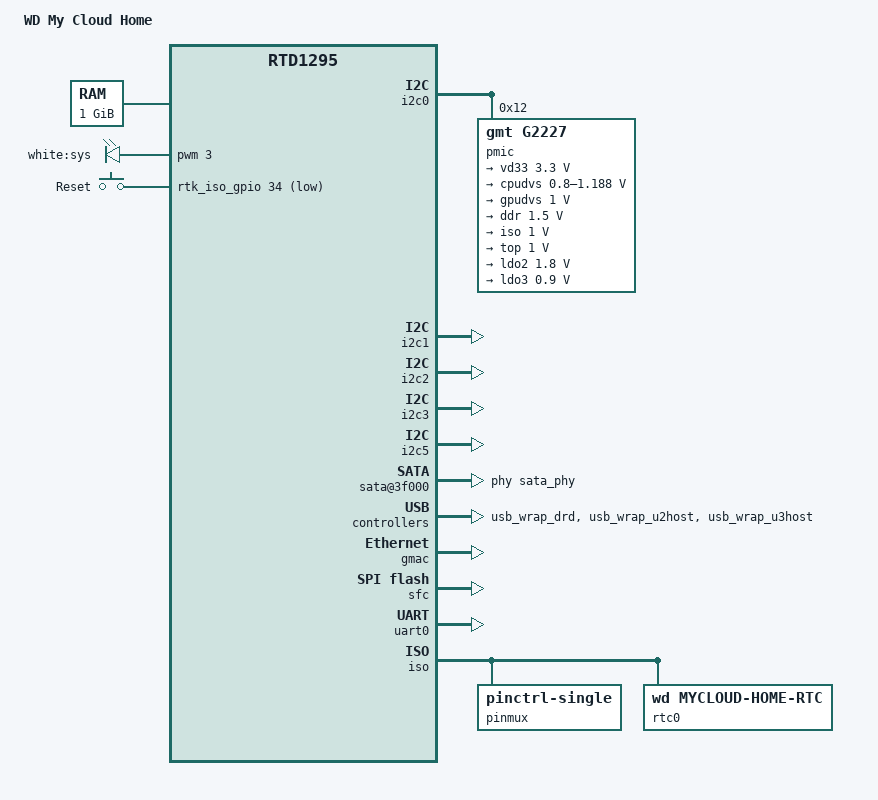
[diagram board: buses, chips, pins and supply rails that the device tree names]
// SPDX-License-Identifier: (GPL-2.0-or-later OR BSD-2-Clause)
/*
 * WD My Cloud Home device tree
 * Based on Realtek RTD1295 SoC
 *
 * Ported from kernel 4.9.330 to 6.18.2
 * Based on third-party Debian device tree from Russian forum
 * Optimized for Debian/Linux (not Android)
 */

/dts-v1/;

/*
 * Protect the USB-rescue-loader's ramdisk staging area (rescue.root.sata.
 * cpio.gz_pad.img is loaded here, at the fixed address U-Boot's
 * boot_rescue_from_usb script uses). Matches the vendor rescue DTS
 * (rtd-1295-monarch-rescue.dts): ROOTFS_RESCUE_START/SIZE from
 * include/soc/realtek/memory.h. Without this reservation and the
 * chosen/linux,initrd-* properties below, the kernel never learns the
 * ramdisk is there at all -- confirmed on real hardware: U-Boot's own FDT
 * memreserve dump only lists 3 regions without this line (vs. 10 on a
 * working 4.9.330 rescue boot), and the kernel panics with "Unable to
 * mount root fs" instead of "Trying to unpack rootfs image as initramfs".
 */
/memreserve/ 0x02200000 0x00C00000;

#include "rtd1295.dtsi"
#include <dt-bindings/gpio/gpio.h>
#include <dt-bindings/input/input.h>
#include <dt-bindings/thermal/thermal.h>
#include <dt-bindings/reset/realtek,rtd1295.h>

/ {
	compatible = "wd,mycloud-home", "realtek,rtd1295";
	model = "WD My Cloud Home";

	/*
	 * NOTE: The third-party Debian tree this was derived from reports 1 GiB RAM.
	 * Do NOT assume 2 GiB unless confirmed on the target device.
	 *
	 * Also note: this SoC is ARM64, but the upstream RTD129x DTS uses
	 * #address-cells = <1> / #size-cells = <1> at the root (32-bit cells).
	 * That's fine as long as all addresses are below 4 GiB.
	 */
	memory@0 {
		device_type = "memory";
		reg = <0x0 0x40000000>;
	};

	aliases {
		serial0 = &uart0;
		serial1 = &uart1;
		serial2 = &uart2;
		i2c0 = &i2c0;
		i2c1 = &i2c1;
	};

	chosen {
		bootargs = "earlycon=uart8250,mmio32,0x98007800 console=ttyS0,115200 panic=5";
		stdout-path = "serial0:115200n8";
		/*
		 * ROOTFS_RESCUE_START, see the /memreserve/ comment above.
		 * End is start+4MB, not the full 12MB reservation: the
		 * USB-rescue loader reads a fixed 4194304-byte block for
		 * rescue.root.sata.cpio.gz_pad.img regardless of the real
		 * gzip payload size (matches the working 4.9.330 rescue
		 * boot log: "Freeing initrd memory: 4096K").
		 */
		linux,initrd-start = <0x02200000>;
		linux,initrd-end = <0x02600000>;
	};

	/* Reserved memory - clean version without vendor rsvmem-remap overlaps */
	reserved-memory {
		#address-cells = <1>;
		#size-cells = <1>;
		ranges;

		linux,cma {
			compatible = "shared-dma-pool";
			reusable;
			size = <0x02000000>;
			linux,cma-default;
		};

		/* ramoops for kernel crash log persistence */
		ramoops@22000000 {
			compatible = "ramoops";
			reg = <0x22000000 0x200000>;
			record-size = <0x4000>;
			console-size = <0x100000>;
			ftrace-size = <0x4000>;
		};
	};

	/* Note: ION memory management is simplified for Debian
	 * Original Debian version kept minimal ION config for compatibility
	 * Full ION nodes will be added if needed
	 */
};

&rbus {
	/*
	 * Vendor RTD129x interrupt mux.
	 *
	 * The vendor I2C binding uses two-cell interrupts (<bank line>) with
	 * interrupt-parent pointing at this mux. The mux itself is chained from
	 * two GIC SPIs (40 and 41) in the extracted DTS.
	 */
	mux_intc: interrupt-controller@1b000 {
		compatible = "Realtek,rtk-irq-mux";
		/* v18: enabled. The earlier "stuck ISO_ISR bit2" was a probe
		 * artifact - the register is a normal W1C event latch (bit0 =
		 * WRITE_DATA convention, see vendor rtk_iso.h), but every probe
		 * command itself generated uart traffic that re-latched the bit.
		 * The real storm cause was printk inside the mux handler feeding
		 * the console uart; the driver is silent now.
		 */
		status = "okay";
		interrupt-controller;
		#interrupt-cells = <2>;

		/* v15: full vendor contract for irq-rtd129x.c - two muxes:
		 * index 0 = MISC @ 0x1b000 (GIC SPI 40), index 1 = ISO @ 0x7000
		 * (GIC SPI 41). intr-status/intr-en are per-mux register offsets;
		 * without them the driver reads uninitialized stack values.
		 */
		Realtek,mux-nr = <2>;
		intr-status = <0x0c 0x00>;
		intr-en = <0x80 0x40>;

		interrupt-parent = <&gic>;
		interrupts = <GIC_SPI 40 IRQ_TYPE_LEVEL_HIGH>,
			     <GIC_SPI 41 IRQ_TYPE_LEVEL_HIGH>;

		/* register windows used by the vendor driver */
		reg = <0x1b000 0x100>, <0x7000 0x100>;
	};

	/*
	 * I2C buses (vendor binding: "realtek,rtk-i2c").
	 */
	i2c0: i2c@7d00 {
		compatible = "realtek,rtk-i2c";
		reg = <0x7d00 0x100>, <0x7000 0x100>;
		interrupt-parent = <&mux_intc>;
		interrupts = <1 8>;
		i2c-num = <0>;
		pinctrl-names = "default";
		pinctrl-0 = <&i2c0_pins>;
		status = "okay";
		#address-cells = <1>;
		#size-cells = <0>;

		pmic@12 {
			compatible = "gmt,g2227";
			reg = <0x12>;
			status = "okay";

			regulators {
				compatible = "gmt,g2227-regulator";
				status = "okay";

				dc1 { regulator-boot-on; regulator-always-on; regulator-name = "vd33"; regulator-min-microvolt = <3300000>; regulator-max-microvolt = <3300000>; regulator-initial-mode = <1>; };
				dc2 { regulator-boot-on; regulator-always-on; regulator-name = "cpudvs"; regulator-min-microvolt = <800000>; regulator-max-microvolt = <1187500>; regulator-initial-mode = <0>; regulator-state-coldboot { regulator-off-in-suspend; }; };
				dc3 { regulator-boot-on; regulator-always-on; regulator-name = "gpudvs"; regulator-min-microvolt = <1000000>; regulator-max-microvolt = <1000000>; regulator-initial-mode = <0>; regulator-ramp-delay = <625>; regulator-state-coldboot { regulator-off-in-suspend; }; };
				dc4 { regulator-boot-on; regulator-always-on; regulator-name = "ddr"; regulator-min-microvolt = <1500000>; regulator-max-microvolt = <1500000>; regulator-initial-mode = <0>; regulator-state-coldboot { regulator-off-in-suspend; }; };
				dc5 { regulator-boot-on; regulator-always-on; regulator-name = "iso"; regulator-min-microvolt = <1000000>; regulator-max-microvolt = <1000000>; regulator-initial-mode = <0>; };
				dc6 { regulator-boot-on; regulator-always-on; regulator-name = "top"; regulator-min-microvolt = <1000000>; regulator-max-microvolt = <1000000>; regulator-initial-mode = <0>; regulator-state-coldboot { regulator-off-in-suspend; }; };
				ldo2 { regulator-boot-on; regulator-always-on; regulator-name = "ldo2"; regulator-min-microvolt = <1800000>; regulator-max-microvolt = <1800000>; regulator-initial-mode = <0>; regulator-state-coldboot { regulator-off-in-suspend; }; };
				ldo3 { regulator-boot-on; regulator-always-on; regulator-name = "ldo3"; regulator-min-microvolt = <900000>; regulator-max-microvolt = <900000>; regulator-initial-mode = <0>; regulator-state-coldboot { regulator-off-in-suspend; }; };
			};
		};
	};

	i2c1: i2c@7c00 {
		compatible = "realtek,rtk-i2c";
		reg = <0x7c00 0x100>, <0x7000 0x100>;
		interrupt-parent = <&mux_intc>;
		interrupts = <1 11>;
		i2c-num = <1>;
		status = "okay";
		#address-cells = <1>;
		#size-cells = <0>;
	};

	i2c2: i2c@1b700 {
		compatible = "realtek,rtk-i2c";
		reg = <0x1b700 0x100>, <0x1b00c 0x100>;
		interrupt-parent = <&mux_intc>;
		interrupts = <0 26>;
		i2c-num = <2>;
		status = "okay";
		#address-cells = <1>;
		#size-cells = <0>;
	};

	i2c3: i2c@1b900 {
		compatible = "realtek,rtk-i2c";
		reg = <0x1b900 0x100>, <0x1b00c 0x100>;
		interrupt-parent = <&mux_intc>;
		interrupts = <0 23>;
		i2c-num = <3>;
		status = "okay";
		#address-cells = <1>;
		#size-cells = <0>;
	};

	i2c4: i2c@1ba00 {
		compatible = "realtek,rtk-i2c";
		reg = <0x1ba00 0x100>, <0x1b00c 0x100>;
		interrupt-parent = <&mux_intc>;
		interrupts = <0 15>;
		i2c-num = <4>;
		status = "disabled";
		#address-cells = <1>;
		#size-cells = <0>;
	};

	i2c5: i2c@1bb00 {
		compatible = "realtek,rtk-i2c";
		reg = <0x1bb00 0x100>, <0x1b00c 0x100>;
		interrupt-parent = <&mux_intc>;
		interrupts = <0 14>;
		i2c-num = <5>;
		status = "okay";
		#address-cells = <1>;
		#size-cells = <0>;
	};

	/*
	 * ISO_GPIO block -- mainline drivers/gpio/gpio-rtd.c
	 * ("realtek,rtd1295-iso-gpio"), ported from symops/pelican-6.18's
	 * Duo board (same RTD129x-family register layout, same driver, same
	 * mux_intc bank/bit -- see that repo's
	 * rtd1296-wd-mycloud-home-duo.dts for the full derivation of the
	 * reg/interrupts values below, cross-checked here against this
	 * board's own vendor rtd-1295.dtsi rtk_iso_gpio node, which is
	 * identical to Duo's on every field that matters (gpio_base=101,
	 * gpio_numbers=35, mux bank 1 bits 19/20, ISO_GPIO@98007100 /
	 * ISO_SYS@98007000).
	 *
	 * reg[1] is 0x10 bytes, not the vendor's full 0x100-byte page, for
	 * the exact same reason as Duo: that page (&iso, syscon@7000 in
	 * rtd129x.dtsi) is shared with already-working peripherals at their
	 * own small sub-ranges -- pwm@d0 (this board's SYS LED and fan) and
	 * iso_reset@88 -- and claiming the vendor's full reg size here
	 * broke both of those with "-EBUSY: can't request region" on real
	 * Duo hardware before being caught and fixed there. 0x10 bytes
	 * covers only gpa_offset[0]=0x8/gpda_offset[0]=0xc (bank 0, GPIOs
	 * 0-30), same as Duo.
	 */
	rtk_iso_gpio: gpio@7100 {
		compatible = "realtek,rtd1295-iso-gpio";
		reg = <0x7100 0x100>, <0x7000 0x10>;
		interrupt-parent = <&mux_intc>;
		interrupts = <1 19>, <1 20>;
		gpio-controller;
		#gpio-cells = <2>;
		status = "okay";
	};

	rtk_misc_gpio: gpio@1b100 {
		compatible = "realtek,rtd1295-misc-gpio";
		reg = <0x1b100 0x100>, <0x1b000 0x100>;
		interrupt-parent = <&mux_intc>;
		interrupts = <0 19>, <0 20>;
		gpio-controller;
		#gpio-cells = <2>;
		status = "okay";
	};

	/*
	 * Cosmetic power-off -- see drivers/power/reset/wdmc-poweroff.c for
	 * the full story on why this isn't a real power cut. reg[0] is the
	 * pwm@d0 block's own OCD register (4 bytes, all 4 channels packed
	 * into one word -- see that node's own comment on why this can't be
	 * an exclusive devm_platform_ioremap_resource() claim).
	 *
	 * USB VBUS: identified from a captured *stock-firmware* boot log of
	 * this exact physical unit (rtk_usb_manager: power-gpio id=19 for
	 * port0, id=102 for port1+port2 sharing one physical port -- global
	 * Linux gpio numbers; misc-gpio's own gpio_base=0/101 lines and
	 * rtk_iso_gpio's gpio_base=101/35 lines, both confirmed in the
	 * vendor's rtd-1295.dtsi, put those at misc-gpio bit 19 directly and
	 * rtk_iso_gpio local line 1 respectively). Unlike Duo (both ports on
	 * rtk_iso_gpio), Monarch's stock split lands one port on misc-gpio;
	 * both lines are wd,usb-vbus-gpios. Confirmed on real Monarch
	 * hardware (see README.md's poweroff section) -- like Duo's
	 * equivalent, needed a several-second hold, not a brief pulse, to
	 * show any effect at all (see wdmc-poweroff.c's header comment).
	 */
	poweroff: poweroff@70d0 {
		compatible = "wd,mycloud-home-poweroff";
		reg = <0x70d0 0x4>,
		      <0x7680 0x4>,			/* watchdog control */
		      <0x7800 0x20>;			/* UART0 */
		wd,pwm-off-channels = <3>; /* SYS LED only -- no fan on Monarch */
		wd,usb-vbus-gpios = <&rtk_iso_gpio 1 GPIO_ACTIVE_HIGH>,
				    <&rtk_misc_gpio 19 GPIO_ACTIVE_HIGH>;
		memory-region = <&rpc_comm>;		/* IPC with the audio CPU */
		status = "okay";
	};

	/*
	 * SATA PHY + AHCI controller.
	 * PHY driver: drivers/phy/realtek/phy-rtk-sata.c (mainline)
	 * AHCI reg shrunk to 0xf00 to avoid overlap with PHY at 0x3ff00.
	 */
	sata_phy: sata-phy@3ff00 {
		compatible = "Realtek,rtk-sata-phy";
		reg = <0x3ff00 0x100>, <0x1a980 0x10>;
		#address-cells = <1>;
		#size-cells = <0>;
		#phy-cells = <1>;
		status = "okay";

		sata-phy@0 {
			reg = <0>;
			spread-spectrum = <0>;

			/*
			 * Monarch (WD My Cloud Home) board-specific PHY
			 * calibration, copied verbatim from the vendor
			 * rtd-1295-monarch-1GB.dts (sata_phy@9803FF60).
			 * The mainline driver's built-in defaults are for a
			 * different reference board and leave the link dead
			 * (SStatus 0, no OOB signaling at all) on this unit.
			 */
			phy-param = <0x00001111>, <0x00005111>, <0x00009111>,
				    <0x336a0511>, <0x336a4511>, <0x336a8511>,
				    <0xE0700111>, <0xE05C4111>, <0xE04A8111>,
				    <0x00150611>, <0x00154611>, <0x00158611>,
				    <0xC6000A11>, <0xC6004A11>, <0xC6008A11>,
				    <0x70000211>, <0x70004211>, <0x70008211>,
				    <0xC6600A11>, <0xC6604A11>, <0xC6608A11>,
				    <0x20041911>, <0x20045911>, <0x20049911>,
				    <0x94aa2011>, <0x94aa6011>, <0x94aaa011>,
				    <0x17171511>, <0x17175511>, <0x17179511>,
				    <0x07701611>, <0x07705611>, <0x07709611>,
				    <0x00002a11>, <0x00006a11>, <0x0000aa11>,
				    <0x27710311>, <0x27684311>, <0x27648311>,
				    <0x29001011>, <0x29005011>, <0x29009011>,
				    <0xc0000C11>, <0xc0004C11>, <0xc0008C11>,
				    <0x00271711>, <0x00275711>, <0x00279711>;

			tx-driving-tbl = <0x94a72011>, <0x94a76011>, <0x94a7a011>,
					  <0x487a2111>, <0x487a6111>, <0x487aa111>;

			rx-sense-tbl = <0x72100911>, <0x72104911>, <0x72108911>,
					<0x27750311>, <0x276e4311>, <0x276c8311>;
		};
	};

	sata@3f000 {
		compatible = "realtek,rtd1295-ahci";
		reg = <0x3f000 0xf00>;
		power-gpios = <&rtk_misc_gpio 18 GPIO_ACTIVE_HIGH>;	/* drive bay supply */
		interrupts = <GIC_SPI 28 IRQ_TYPE_LEVEL_HIGH>;
		phys = <&sata_phy 0>;
		phy-names = "sata-phy";
		status = "okay";
	};

	/*
	 * GMAC — RTD1295 SoC-internal Gigabit Ethernet.
	 * Uses vendor platform driver r8169soc (compatible "Realtek,r8168").
	 *
	 * Two register ranges, both RBUS-relative:
	 *   0x16000  1K  — MAC registers        (absolute 0x98016000)
	 *   0x7000   1K  — ISO domain registers (absolute 0x98007000)
	 *
	 * The driver uses mmio_clkaddr (range 1) for clock-gate and reset
	 * control of the ETN block.  No RTD1295 clock driver exists in
	 * mainline 6.18, so clocks are declared as optional in r8169soc.c
	 * (hardware clocks remain enabled from the vendor bootloader at
	 * kexec time).
	 *
	 * output-mode = 0 → embedded PHY (RGMII internal).
	 * mac-version  = 0x2a → RTL8168H embedded MAC.
	 */
	/*
	 * v19: USB. RTD1295 has three dwc3 blocks; the WD My Cloud Home's
	 * rear USB-A port is served by the u2host block (vendor-enabled) and
	 * u3host (vendor-disabled but SS-wired). DRD (vendor: adb gadget) is
	 * left out. PHYs are the mainline realtek phy-rtk-usb2/usb3 drivers;
	 * their reg windows live inside the vendor dwc3 wrapper regions.
	 * Resets are the 9 lines the vendor usb-manager deasserts, as shared
	 * arrays so both controllers can list the common ones. clk_en_usb
	 * (CRT 0x0c bit 4) and the VBUS gpio (misc-gpio 19) are poked from
	 * the initramfs - no mainline clk/needed-gpio wiring yet.
	 */
	usb2phy_u2: usb-phy@13c14 {
		compatible = "realtek,rtd1295-usb2phy";
		reg = <0x13c14 0x4>, <0x31280 0x4>;
		#phy-cells = <0>;
	};

	usb2phy_u3: usb-phy@13e14 {
		compatible = "realtek,rtd1295-usb2phy";
		reg = <0x13e14 0x4>, <0x1f8280 0x4>;
		#phy-cells = <0>;
	};

	usb3phy_u3: usb-phy@13e10 {
		compatible = "realtek,rtd1295-usb3phy";
		reg = <0x13e10 0x4>;
		#phy-cells = <0>;
	};

	/* v42: on-die thermal sensor (scpu_wrapper block) */
	soc_thermal: thermal-sensor@1d150 {
		compatible = "realtek,rtd129x-thermal-sensor";
		reg = <0x1d150 0x20>;
		#thermal-sensor-cells = <0>;
	};

	usb2phy_drd: usb-phy@13214 {
		compatible = "realtek,rtd1295-usb2phy";
		reg = <0x13214 0x4>, <0x28280 0x4>;
		#phy-cells = <0>;
	};

	usb3phy_drd: usb-phy@13210 {
		compatible = "realtek,rtd1295-usb3phy";
		reg = <0x13210 0x4>;
		#phy-cells = <0>;
	};

	usb_wrap_drd: usb@13200 {
		/* v21: the DRD block drives the physical USB-A port on this box
		 * (vendor ran it as an adb gadget and role-switched in software;
		 * u3host is unwired). Run it as a plain host.
		 */
		compatible = "realtek,rtd1295-dwc3", "realtek,rtd-dwc3";
		reg = <0x13200 0x200>;
		#address-cells = <1>;
		#size-cells = <1>;
		ranges;

		usb_drd: usb@20000 {
			compatible = "snps,dwc3";
			reg = <0x20000 0x9000>;
			interrupts = <GIC_SPI 21 IRQ_TYPE_LEVEL_HIGH>;
			phys = <&usb2phy_drd>, <&usb3phy_drd>;
			phy-names = "usb2-phy", "usb3-phy";
			dr_mode = "host";
			snps,dis_u2_susphy_quirk;
			snps,dis_ss_park_mode;
			resets = <&reset1 RTD1295_RSTN_USB>,
				 <&reset1 RTD1295_RSTN_USB_PHY0>,
				 <&reset1 RTD1295_RSTN_USB3_PHY0_POW>,
				 <&reset1 RTD1295_RSTN_USB3_P0_MDIO>;
		};
	};

	usb_wrap_u2host: usb@13c00 {
		/* v20: mainline dwc3-rtk glue wrapper. The parent compatible
		 * "realtek,rtd-dwc3" also makes dwc3 core use the RTD globals
		 * offset 0x8100 instead of 0xc100 (the v39 -EBUSY failure).
		 */
		compatible = "realtek,rtd1295-dwc3", "realtek,rtd-dwc3";
		reg = <0x13c00 0x200>;
		#address-cells = <1>;
		#size-cells = <1>;
		ranges;

		usb_u2host: usb@29000 {
			compatible = "snps,dwc3";
			reg = <0x29000 0x9000>;
			interrupts = <GIC_SPI 21 IRQ_TYPE_LEVEL_HIGH>;
			phys = <&usb2phy_u2>;
			phy-names = "usb2-phy";
			dr_mode = "host";
			snps,dis_u2_susphy_quirk;
			resets = <&reset1 RTD1295_RSTN_USB>,
				 <&reset1 RTD1295_RSTN_USB_PHY0>,
				 <&reset1 RTD1295_RSTN_USB_PHY1>,
				 <&reset2 RTD1295_RSTN_USB_PHY2>,
				 <&reset2 RTD1295_RSTN_USB_PHY3>;
		};
	};

	usb_wrap_u3host: usb@13e00 {
		compatible = "realtek,rtd1295-dwc3", "realtek,rtd-dwc3";
		reg = <0x13e00 0x200>;
		#address-cells = <1>;
		#size-cells = <1>;
		ranges;

		usb_u3host: usb@1f0000 {
			compatible = "snps,dwc3";
			reg = <0x1f0000 0x9000>;
			interrupts = <GIC_SPI 21 IRQ_TYPE_LEVEL_HIGH>;
			phys = <&usb2phy_u3>, <&usb3phy_u3>;
			phy-names = "usb2-phy", "usb3-phy";
			dr_mode = "host";
			snps,dis_u2_susphy_quirk;
			snps,dis_ss_park_mode;
			resets = <&reset1 RTD1295_RSTN_USB>,
				 <&reset1 RTD1295_RSTN_USB3_PHY0_POW>,
				 <&reset1 RTD1295_RSTN_USB3_P0_MDIO>,
				 <&reset2 4>,
				 <&reset2 RTD1295_RSTN_USB3_P1_MDIO>;
		};
	};

	gmac: ethernet@16000 {
		compatible = "Realtek,r8168";
		reg = <0x16000 0x1000>, <0x7000 0x1000>;
		interrupt-parent = <&gic>;
		interrupts = <GIC_SPI 22 IRQ_TYPE_LEVEL_HIGH>;
		resets = <&iso_reset RTD1295_ISO_RSTN_GMAC>,
			 <&iso_reset RTD1295_ISO_RSTN_GPHY>;
		reset-names = "gmac", "gphy";
		output-mode = <0>;
		mac-version = <0x2a>;
		ext-phy-id = <1>;
		led-cfg = <0x804f>;
		rtl-config = <1>;
		rtl-features = <2>;
		eee = <1>;
		rgmii-voltage = <1>;
		rgmii-tx-delay = <0>;
		rgmii-rx-delay = <0>;
		status = "okay";
	};

	/*
	 * SPI-NOR flash controller (SFC). Single fixed chip, no child
	 * nodes -- matches the vendor DTS (sfc@9801a800). This is the
	 * same 1MB boot SPI-NOR that holds the FSBL; mtd0 offset 0 is the
	 * vendor's dedicated RTC timestamp scratch area (see rtc-rtk.c /
	 * the WD-RTC driver below), verified safe on real hardware before
	 * porting (confirmed valid {seconds, ~seconds} pair already there,
	 * not FSBL data).
	 */
	sfc: sfc@1a800 {
		compatible = "realtek,rtk-sfc";
		reg = <0x1a800 0x50>;
		status = "okay";
	};
};

/* The power-off driver writes the audio CPU's IPC block, which it reads uncached */
&rpc_comm {
	no-map;
};

&uart0 {
	/* v18: IRQ via ISO mux (index 1, status bit 2). interrupts-st-mask
	 * matches the vendor DT; mainline 8250 ignores it (the mux driver
	 * acks the latch instead).
	 */
	interrupt-parent = <&mux_intc>;
	interrupts = <1 2>;
	interrupts-st-mask = <0x4>;
	status = "okay";
};

&uart1 {
	status = "disabled";
};

&uart2 {
	status = "disabled";
};

/* v17: spin-table restored. smp_spin_table.c now detects a non-memory
 * release address and uses the vendor access pattern (plain ioremap +
 * 32-bit writel + sev) instead of ioremap_cache + writeq + dcache
 * maintenance, which hard-hung the interconnect (the v23 failure).
 */
&cpu0 {
	enable-method = "spin-table";
	cpu-release-addr = <0x0 0x9801aa44>;
};

&cpu1 {
	enable-method = "spin-table";
	cpu-release-addr = <0x0 0x9801aa44>;
};

&cpu2 {
	enable-method = "spin-table";
	cpu-release-addr = <0x0 0x9801aa44>;
};

&cpu3 {
	enable-method = "spin-table";
	cpu-release-addr = <0x0 0x9801aa44>;
};


/*
 * Vendor 4.9 uses a Realtek-specific "rtk-spin-table" CPU bring-up path.
 * Mainline arm64 doesn't know that cpu_ops name, but it does support the
 * generic spin-table protocol, which uses the same release address polling
 * model for secondaries.
 */




/* TODO: Port I2C controllers from extracted.dts
 * - i2c@0x98007D00 (I2C0) with PMIC g2227@12
 * - i2c@0x98007C00 (I2C1)
 * - i2c@0x9801B700 (I2C2)
 * - i2c@0x9801B900 (I2C3)
 * - i2c@0x9801BA00 (I2C4)
 * - i2c@0x9801BB00 (I2C5)
 */

/* TODO: Port USB controllers
 * - dwc3_drd_usb2phy
 * - dwc3_drd_usb3phy
 * - rtk_dwc3_drd
 * - rtk_dwc3_u2host
 */

/* TODO: Port SATA controller
 * - sata_phy@9803FF60
 * - sata@9803F000
 */

/*
 * The GMAC node goes inside &rbus (both reg ranges are RBUS-relative).
 * See note below the &rbus block for details.
 */

/* TODO: Port GPIO and pinctrl
 * - pinctrl@9801A000
 * - rtk_iso_gpio@98007100
 * - rtk_misc_gpio@9801b100
 */

/* TODO: Port power management
 * - power-management@0
 * - cpu-dvfs
 */

/* TODO: Port thermal zones
 * - thermal-zones
 */

/ {
	thermal-zones {
		soc-thermal {
			polling-delay-passive = <250>;
			polling-delay = <10000>;
			thermal-sensors = <&soc_thermal>;

			trips {
				soc_hot: soc-hot {
					temperature = <85000>;
					hysteresis = <5000>;
					type = "passive";
				};

				soc-crit {
					temperature = <105000>;
					hysteresis = <2000>;
					type = "critical";
				};
			};

			cooling-maps {
				map0 {
					trip = <&soc_hot>;
					cooling-device = <&cpu0 THERMAL_NO_LIMIT THERMAL_NO_LIMIT>,
							 <&cpu1 THERMAL_NO_LIMIT THERMAL_NO_LIMIT>,
							 <&cpu2 THERMAL_NO_LIMIT THERMAL_NO_LIMIT>,
							 <&cpu3 THERMAL_NO_LIMIT THERMAL_NO_LIMIT>;
				};
			};
		};
	};
};

&iso {
	/* No RTD1295 pin controller in 6.18; U-Boot leaves I2C0's pads as GPIOs */
	pinmux@310 {
		compatible = "pinctrl-single";
		reg = <0x310 0x4>;
		#pinctrl-cells = <1>;
		pinctrl-single,register-width = <32>;
		pinctrl-single,function-mask = <0x03c00000>;

		i2c0_pins: i2c0-pins {
			pinctrl-single,pins = <0x0 0x01400000>;	/* SCL, SDA: I2C */
		};
	};

	pwm: pwm@d0 {
		compatible = "realtek,rtd129x-pwm";
		reg = <0xd0 0xc>;
		clocks = <&osc27M>;
		#pwm-cells = <2>;
	};

	/*
	 * The RTD1295 hardware RTC counter at this offset has no battery
	 * backup on this board and free-runs from an arbitrary reset value
	 * -- useless for keeping actual time across a power cycle (this is
	 * why mainline's rtc-rtd119x.c, which drives it directly, always
	 * reports 2014-01-01 after boot on this device). The vendor
	 * firmware never actually uses it either: it persists the clock in
	 * SPI-NOR flash instead (see &sfc and drivers/rtc/rtc-wd-mch-
	 * flash.c). This node is intentionally left unbound; no driver
	 * claims "realtek,rtd1295-rtc" here.
	 */

	rtc0: rtc {
		compatible = "wd,mycloud-home-rtc";
		status = "okay";
	};
};

/ {
	leds {
		compatible = "pwm-leds";

		/*
		 * Front SYS LED, PWM channel 3. "keep" turned out to be the
		 * wrong default: the raw pre-driver hardware state here is
		 * just reset/BootROM leftovers (ocd=255 csd=15 cd=127 ->
		 * ~1.6 Hz, visibly flickering), not something meaningful the
		 * boot loader configured -- the vendor's own driver
		 * unconditionally reprograms all 4 channels at probe
		 * regardless of what it finds. Its logged defaults for this
		 * channel (clksrc_div=1 clkout_div=255 duty_rate=10,
		 * ~26367 Hz) are the actual known-good operating point;
		 * default-brightness=26 (~10% of 255) reproduces that duty
		 * cycle through this driver's apply().
		 */
		led-sys {
			label = "white:sys";
			pwms = <&pwm 3 37926>;
			max-brightness = <255>;
			default-state = "on";
			default-brightness = <26>;
		};
	};

	/*
	 * Reset button, ported from symops/pelican-6.18's Duo board -- see
	 * that repo's rtd1296-wd-mycloud-home-duo.dts for the full story
	 * (MCG1-6.18 analogy, real IRQ vs. MCG1's forced polling, and why
	 * the vendor's power-management wakeup-gpio-list is not a reliable
	 * lead for which GPIO this is).
	 *
	 * GPIO 34, confirmed on real Monarch hardware the same way Duo's
	 * GPIO 20 was: `gpioget -c gpiochip0 <all 34 other lines>` run once
	 * unpressed and once with the button held, diffing the two dumps.
	 * Exactly one line flipped, active -> inactive, between the two
	 * reads. Neither of this board's own vendor wakeup-gpio-list
	 * candidates (GPIO 14 or 33, rtd-1295-monarch-1GB.dts -- both
	 * marked disabled there, wakeup-gpio-enable = <0>, <0>;) was it;
	 * 33 was close but wrong, same as Duo's list pointing at 22 instead
	 * of the real 20. This list is evidently not a reliable lead on
	 * either board.
	 */
	gpio_keys: gpio-keys {
		compatible = "gpio-keys";

		button-reset {
			label = "Reset";
			linux,code = <KEY_PROG1>;
			gpios = <&rtk_iso_gpio 34 GPIO_ACTIVE_LOW>;
		};
	};
};

&crt {
	/*
	 * No "reg" here: the two registers this clock touches (divider at
	 * CRT offset 0x030, PLL/SSC1 control at 0x500+) are far apart in
	 * the same block, so the driver reaches both through &crt's own
	 * syscon regmap instead of owning a private MMIO sub-window.
	 */
	scpu_clk: clock-controller {
		compatible = "realtek,rtd129x-scpu-clk";
		clocks = <&osc27M>;
		#clock-cells = <0>;
	};
};

/*
 * cpufreq: divider-only scaling below the boot operating point.  The
 * boot loader leaves PLL_SCPU at 1201.5 MHz with the post-divider at
 * /2, so this board has always run at 600.75 MHz; the OPPs are that
 * proven point and its half.  No opp-microvolt on purpose: the cpudvs
 * rail is never touched, both OPPs are safe at whatever voltage the
 * board booted with.
 */
&cpu0 {
	clocks = <&scpu_clk>;
	#cooling-cells = <2>;
	operating-points-v2 = <&cpu_opps>;
};

&cpu1 {
	clocks = <&scpu_clk>;
	#cooling-cells = <2>;
	operating-points-v2 = <&cpu_opps>;
};

&cpu2 {
	clocks = <&scpu_clk>;
	#cooling-cells = <2>;
	operating-points-v2 = <&cpu_opps>;
};

&cpu3 {
	clocks = <&scpu_clk>;
	#cooling-cells = <2>;
	operating-points-v2 = <&cpu_opps>;
};

/ {
	cpu_opps: opp-table-cpu {
		compatible = "operating-points-v2";
		opp-shared;

		opp-300375000 {
			opp-hz = /bits/ 64 <300375000>;
			clock-latency-ns = <150000>;
		};

		opp-600750000 {
			opp-hz = /bits/ 64 <600750000>;
			clock-latency-ns = <150000>;
			opp-suspend;
		};

		opp-1100000000 {
			opp-hz = /bits/ 64 <1100000000>;
			clock-latency-ns = <300000>;
		};
	};
};
